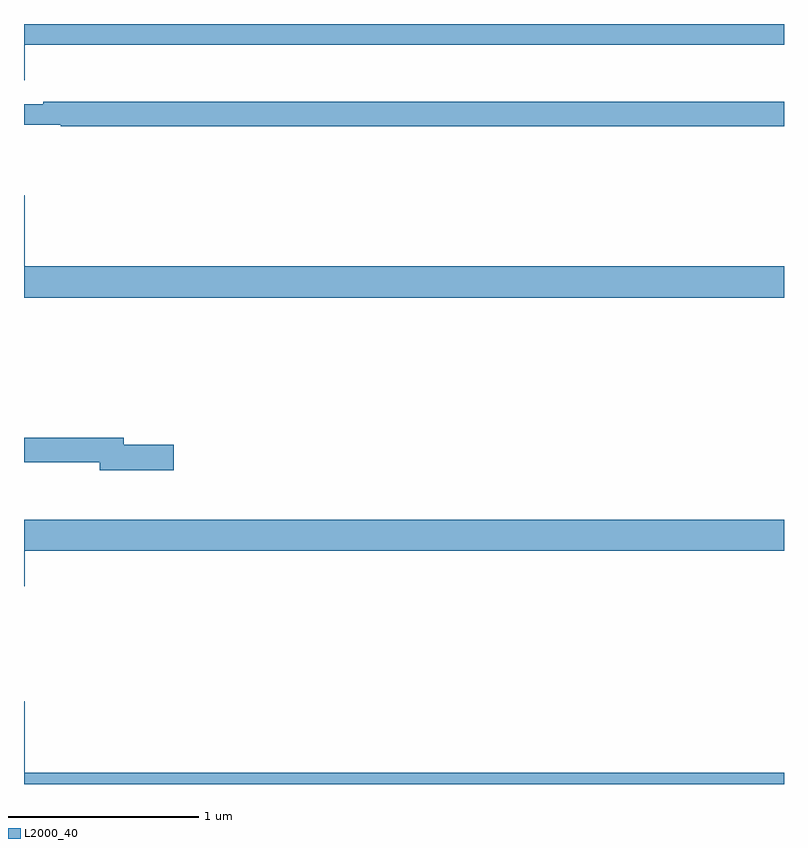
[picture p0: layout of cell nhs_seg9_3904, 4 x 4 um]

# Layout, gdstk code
import gdstk
lib = gdstk.Library(unit=1e-6, precision=1e-09)
def P(c, l, *ps):  # polygons
    for p in ps: c.add(gdstk.Polygon(p, *l))
L2000_40 = (2000, 40)

nhs_seg9_3904 = lib.new_cell('nhs_seg9_3904')
P(nhs_seg9_3904, L2000_40, [(333.004,1224.392),(337,1224.392),(337,1224.5),(333,1224.5),(333,1224.204),(333.004,1224.204)],
  [(337,1224.091),(333.1,1224.091),(333.1,1224.078),(333,1224.078),(333,1223.97),(333.194,1223.97),(333.194,1223.962),(337,1223.962)],
  [(337,1223.224),(333.004,1223.224),(333.004,1223.599),(333,1223.599),(333,1223.06),(337,1223.06)],
  [(333.787,1222.286),(333.526,1222.286),(333.526,1222.322),(333,1222.322),(333,1222.194),(333.398,1222.194),(333.398,1222.151),(333.787,1222.151)],
  [(333.004,1221.728),(337,1221.728),(337,1221.892),(333,1221.892),(333,1221.54),(333.004,1221.54)],
  [(337,1220.56),(333.004,1220.56),(333.004,1220.935),(333,1220.935),(333,1220.5),(337,1220.5)])

lib.write_gds('nhs_seg9_3904.gds')
